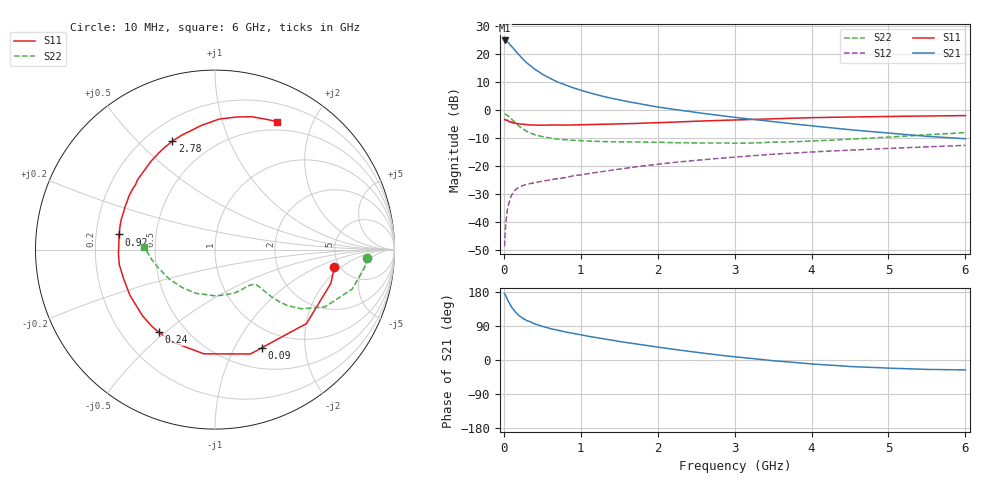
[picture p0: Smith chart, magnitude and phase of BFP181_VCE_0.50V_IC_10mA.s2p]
! (c) 2016  Infineon Technologies AG, Munich
! Infineon Technologies  Discrete & RF Semiconductors
! BFP181
! VCE = 0.50V,  IC =  10 mA
! Common Emitter S-Parameters:  Jan 2016
# GHz  S  MA  R  50
!  f  S11  S21  S12  S22
! GHz  MAG  ANG  MAG  ANG  MAG  ANG  MAG  ANG
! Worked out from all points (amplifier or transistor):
!   210 points, 10 MHz to 6 GHz, reference 50 ohm
!   highest |S21| = 24.8 dB at 10 MHz (marker M1)
!   |S21| within 3 dB of that: start of sweep to 128.7 MHz
!   unconditionally stable (mu >= 1): start of sweep to 13.08 MHz; 348.9 MHz to end of sweep
!   at 185 MHz: K = 0.62, MSG = 23.9 dB, |S12| = -27.8 dB
!   at 1.52 GHz: K = 2.30, MAG = 5.8 dB, |S12| = -21.0 dB
!   at 6 GHz: K = 2.29, MAG = -5.2 dB, |S12| = -12.7 dB
!   S11 on the Smith chart (normalised r, x): 10 MHz: 4.53, -1.58; 90 MHz: 0.75, -1.29; 240 MHz: 0.36, -0.47; 920 MHz: 0.30, +0.07; 2.78 GHz: 0.30, +0.64; 6 GHz: 0.40, +1.52
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0.01  0.6724 -8.2  17.39 175.5  0.0037 81.6  0.8457 -3.1
0.02  0.6723 -16.3  17.31 171.0  0.0075 75.7  0.8406 -6.7
0.05  0.6555 -38.9  16.37 157.5  0.0179 71.1  0.7951 -16.1
0.09  0.6061 -64.6  14.14 143.4  0.0275 57.3  0.7091 -25.0
0.1  0.6141 -71.3  13.75 139.3  0.0301 55.3  0.6907 -27.5
0.15  0.5839 -96.1  11.38 126.0  0.0379 46.5  0.5857 -34.3
0.2  0.5665 -113.8  9.491 116.6  0.0419 41.6  0.5108 -37.7
0.24  0.5566 -124.4  8.282 111.0  0.0443 38.9  0.4661 -38.9
0.26  0.5537 -129.1  7.768 108.3  0.0454 37.9  0.4464 -39.3
0.3  0.5473 -137.5  6.884 103.9  0.0472 36.4  0.4126 -39.9
0.4  0.5381 -151.7  5.36 95.3  0.0503 35.3  0.3611 -40.0
0.5  0.5344 -162.3  4.338 88.7  0.0533 34.6  0.3325 -39.9
0.7  0.5386 -177.4  3.142 78.4  0.0592 36.6  0.3009 -40.6
0.92  0.5404 171.0  2.439 69.6  0.0671 38.6  0.2863 -42.8
1.02  0.5451 165.9  2.201 65.6  0.0699 39.2  0.2815 -44.2
1.5  0.5648 148.1  1.507 48.9  0.088 40.6  0.2694 -53.0
2.02  0.5928 131.0  1.116 33.4  0.1081 39.7  0.2649 -65.8
2.78  0.6495 111.4  0.805 13.3  0.1362 35.1  0.258 -88.4
3.1  0.6686 104.1  0.712 6.5  0.1475 32.6  0.255 -99.7
4.1  0.7311 86.6  0.504 -11.7  0.1806 24.3  0.2821 -134.3
5.1  0.7698 73.4  0.376 -22.1  0.2084 16.0  0.3337 -163.3
6  0.7927 64.1  0.306 -26.2  0.2327 7.8  0.394 177.6
